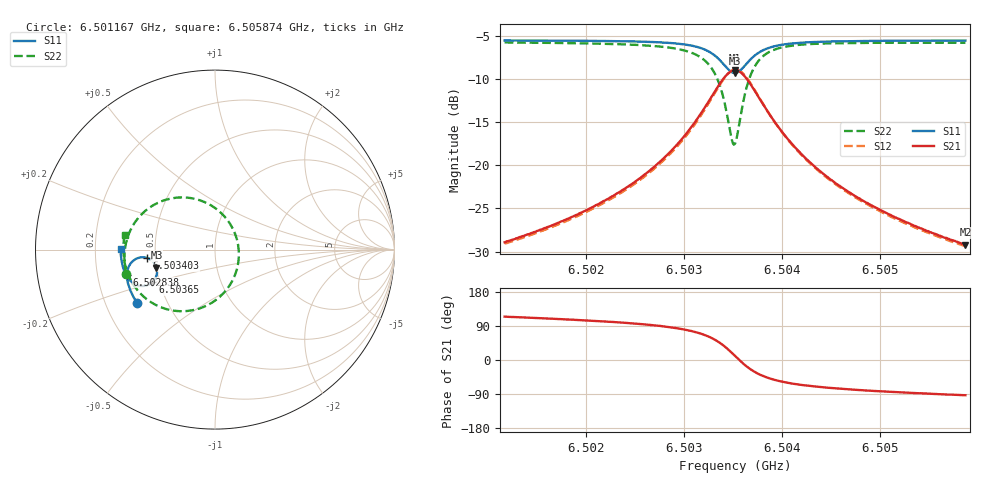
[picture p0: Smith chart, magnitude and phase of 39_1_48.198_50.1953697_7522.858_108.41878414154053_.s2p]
#  HZ  S  RI  R  50.00
! Rohde & Schwarz Vector Network Analyzer
! Rohde-Schwarz,ZNB20-2Port,1311601062101988,3.16
! Created: UTC 3/20/2024, 11:37:47 AM
! freq[Hz]  re:S11  im:S11  re:S21  im:S21  re:S12  im:S12  re:S22  im:S22
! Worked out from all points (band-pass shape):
!   401 points, 6.501167 GHz to 6.505874 GHz, reference 50 ohm
!   highest |S21| = -9.02 dB at 6.503521 GHz (marker M1); lowest = -29.2 dB at 6.505874 GHz (marker M2)
!   |S21| within 3 dB of the highest: 6.503285 GHz to 6.503756 GHz (470.6 kHz wide, 0.00724 % of centre)
!   lowest |S11| = -9.3 dB at 6.503521 GHz (marker M3), VSWR 2.03, Z = 25 - j5.65 ohm
!   |S11| at or under -10 dB: nowhere
!   |S22| runs from -17.6 to -5.8 dB; largest |S21 - S12| = 0.012
!   S11 on the Smith chart (normalised r, x): 6.501167 GHz: 0.34, -0.27; 6.502838 GHz: 0.33, -0.12; 6.503403 GHz: 0.45, -0.05; 6.50365 GHz: 0.46, -0.20; 6.505874 GHz: 0.31, +0.00
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6.5011673e9  -0.436 -0.2951  -0.0148 0.0325  -0.013 0.0327  -0.4952 -0.1334
6.5019556e9  -0.4685 -0.2347  -0.0138 0.0514  -0.0112 0.0508  -0.5047 -0.0454
6.5023675e9  -0.4823 -0.197  -0.0108 0.0707  -0.00765 0.0693  -0.4996 0.0164
6.502744e9  -0.4903 -0.1533  -0.000343 0.1033  0.00339 0.1008  -0.4762 0.0971
6.5028381e9  -0.4906 -0.1398  0.00564 0.116  0.00939 0.1128  -0.4632 0.1238
6.5030382e9  -0.4847 -0.1052  0.0308 0.1529  0.0344 0.148  -0.4107 0.1948
6.5031794e9  -0.4681 -0.0746  0.0728 0.1881  0.0753 0.1818  -0.3296 0.2551
6.5033088e9  -0.4304 -0.0475  0.1534 0.2143  0.154 0.2078  -0.1826 0.2908
6.5034029e9  -0.3816 -0.0454  0.2488 0.196  0.2489 0.1915  -0.0174 0.2437
6.5034853e9  -0.3371 -0.0767  0.3299 0.1174  0.3325 0.1132  0.112 0.0879
6.5035206e9  -0.3259 -0.0999  0.3477 0.0661  0.3518 0.0607  0.1327 -0.00841
6.5035441e9  -0.3228 -0.1171  0.351 0.03  0.3554 0.023  0.1294 -0.0749
6.5035794e9  -0.3251 -0.1423  0.3427 -0.0223  0.3467 -0.0316  0.0996 -0.168
6.50365e9  -0.3486 -0.1813  0.2934 -0.1012  0.2934 -0.1135  -0.0171 -0.2957
6.5037442e9  -0.3912 -0.2018  0.2115 -0.1457  0.2063 -0.1566  -0.1842 -0.3434
6.5038148e9  -0.4182 -0.2017  0.1618 -0.1509  0.1549 -0.1592  -0.277 -0.3298
6.5038972e9  -0.442 -0.1946  0.1198 -0.1443  0.1123 -0.1502  -0.3509 -0.2967
6.5040619e9  -0.4719 -0.1735  0.0699 -0.1225  0.0632 -0.125  -0.4314 -0.2267
6.504309e9  -0.495 -0.1423  0.0359 -0.0945  0.0308 -0.095  -0.4806 -0.1465
6.5046502e9  -0.5105 -0.1051  0.0162 -0.07  0.0127 -0.0695  -0.5036 -0.0718
6.5050974e9  -0.5204 -0.0624  0.00564 -0.0515  0.00308 -0.0508  -0.5108 -0.00384
6.505874e9  -0.526 0.00438  -0.00178 -0.0346  -0.00327 -0.0338  -0.5041 0.0824
